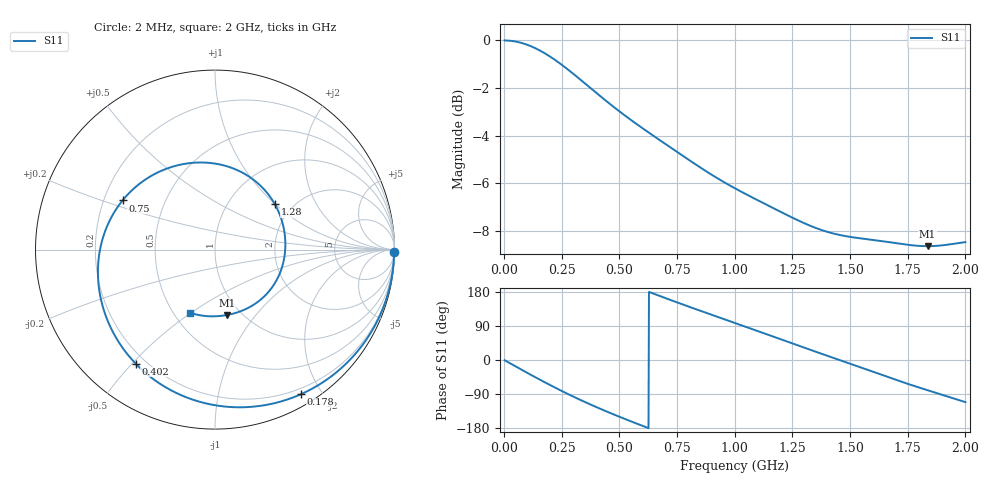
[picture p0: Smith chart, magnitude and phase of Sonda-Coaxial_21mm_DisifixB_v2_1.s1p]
! TOUCHSTONE file generated by CST MICROWAVE STUDIO
! Date and time: Tue Jul 28 21:58:49 2026
! Project name: Sonda-Coaxial_21mm_DisifixB_v2.cst
! Parameters = {h_recipiente=5; l_conector=50; r_arandela=35; r_ext=10.5; r_int=3; r_recipiente=100; z_recipiente=-10}
! Header version: 2018
! Port assignment regex: !\s*Touchstone port\s*([0-9]+)\s*=\s*(CST MWS port|CST DS port)\s*([0-9]+|Zmin|Zmax)\s*\(\"(.*)\"\)(\s*mode\s*([0-9]+))?.*
! Touchstone port assignment:
! Touchstone port 1 = CST MWS port 1 ("")
# GHz S RI R 50
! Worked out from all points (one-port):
!   1000 points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, 2 MHz to 2 GHz, reference 50 ohm
!   lowest |S11| = -8.6 dB at 1.836 GHz (marker M1), VSWR 2.18, Z = 42.9 - j36.3 ohm
!   |S11| at or under -10 dB: nowhere
!   S11 on the Smith chart (normalised r, x): 2 MHz: open; 178 MHz: 0.13, -1.75; 402 MHz: 0.16, -0.51; 750 MHz: 0.28, +0.23; 1.28 GHz: 1.63, +0.99; 2 GHz: 0.61, -0.50
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0.002  0.998 -0.0119
0.042  0.9636 -0.2455
0.082  0.8705 -0.4592
0.132  0.6876 -0.6744
0.178  0.4773 -0.8064
0.214  0.3011 -0.8623
0.252  0.1168 -0.8783
0.32  -0.179 -0.8152
0.402  -0.4425 -0.6347
0.452  -0.5481 -0.4963
0.502  -0.6151 -0.3505
0.558  -0.6494 -0.1879
0.618  -0.6445 -0.0227
0.68  -0.6011 0.1306
0.75  -0.5149 0.2742
0.752  -0.512 0.2777
0.812  -0.4156 0.3705
0.874  -0.3041 0.4368
1.002  -0.0634 0.4851
1.12  0.1416 0.4345
1.252  0.3098 0.2904
1.28  0.3338 0.2523
1.39  0.3875 0.0933
1.502  0.3811 -0.0697
1.638  0.2924 -0.2422
1.752  0.1673 -0.3333
1.836  0.0658 -0.3647
2  -0.1366 -0.3524
